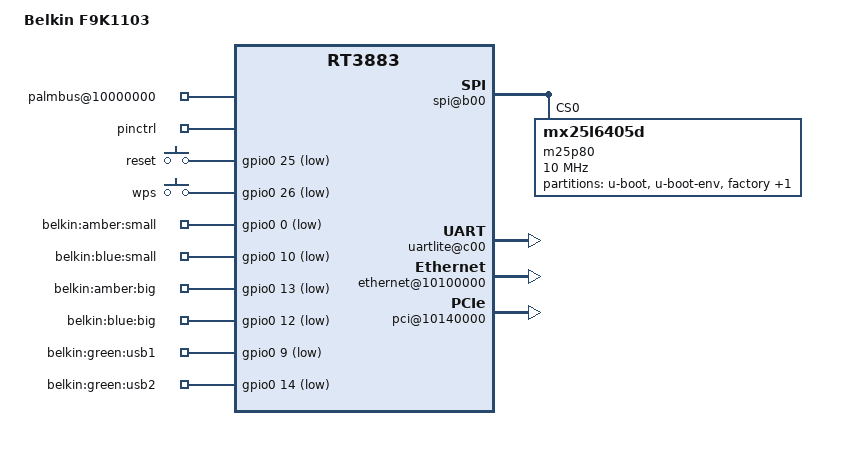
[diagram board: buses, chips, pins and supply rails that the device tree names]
/dts-v1/;

/include/ "rt3883.dtsi"

/ {
	compatible = "F9K1103", "ralink,rt3883-soc";
	model = "Belkin F9K1103";

	palmbus@10000000 {
		spi@b00 {
			status = "okay";
			m25p80@0 {
				compatible = "mx25l6405d";
				reg = <0 0>;
				linux,modalias = "m25p80", "mx25l6405d";
				spi-max-frequency = <10000000>;

				partition@0 {
					label = "u-boot";
					reg = <0x0 0x30000>;
					read-only;
				};

				partition@30000 {
					label = "u-boot-env";
					reg = <0x30000 0x10000>;
					read-only;
				};

				factory: partition@40000 {
					label = "factory";
					reg = <0x40000 0x10000>;
					read-only;
				};

				partition@50000 {
					label = "firmware";
					reg = <0x50000 0x7b0000>;
				};
			};
		};

		gpio1: gpio@638 {
			status = "okay";
		};

		uartlite@c00 {
			status = "okay";
		};

		timer@100 {
			status = "okay";
		};
	};

	pinctrl {
		state_default: pinctrl0 {
			gpio {
				ralink,group = "i2c", "jtag", "uartf";
				ralink,function = "gpio";
			};
			mdio {
				ralink,group = "mdio";
				ralink,function = "mdio";
			};
		};
	};
	ethernet@10100000 {
			status = "okay";
       		mtd-mac-address = <&factory 0x4>;

			port@0 {
				ralink,fixed-link = <1000 1 1 1>;
				phy-mode = "rgmii";
			};
	};

	pci@10140000 {
		status = "okay";

		pinctrl-names = "default";
		pinctrl-0 = <&pci_pins>;

		pci_pins: pci {
			pci {
				ralink,group = "pci";
				ralink,function = "pci-fnc";
			};
		};

		host-bridge {
			pci-bridge@1 {
				status = "okay";
				};
			};
		};
	};

	wmac@10180000 {
		status = "okay";
		ralink,mtd-eeprom = <&factory 0x4>;
	};

	pci1 {
		status = "okay";
	};

	ehci@101c0000 {
		status = "okay";
	};

	ohci@101c1000 {
		status = "okay";
	};

	rtl8367b {
		compatible = "realtek,rtl8367b";
		gpio-sda = <&gpio0 1 1>;
		gpio-sck = <&gpio0 2 1>;
		realtek,extif1 = <1 0 1 1 1 1 1 1 2>;
		};

	gpio-keys-polled {
		compatible = "gpio-keys-polled";
		#address-cells = <1>;
		#size-cells = <0>;
		poll-interval = <100>;
		reset {
			label = "reset";
			gpios = <&gpio0 25 1>;
			linux,code = <0x198>;
		};
		wps {
			label = "wps";
			gpios = <&gpio0 26 1>;
			linux,code = <0x211>;
		};
	};

	gpio-leds {
		small-amber {
			label = "belkin:amber:small";
			gpios = <&gpio0 0 1>;
		};
		small-blue {
			label = "belkin:blue:small";
			gpios = <&gpio0 10 1>;
		};
		big-amber {
			label = "belkin:amber:big";
			gpios = <&gpio0 13 1>;
		};
		big-blue {
			label = "belkin:blue:big";
			gpios = <&gpio0 12 1>;
		};
		usb1 {
			label = "belkin:green:usb1";
			gpios = <&gpio0 9 1>;
		};

		usb2 {
			label = "belkin:green:usb2";
			gpios = <&gpio0 14 1>;
		};
	};
};
